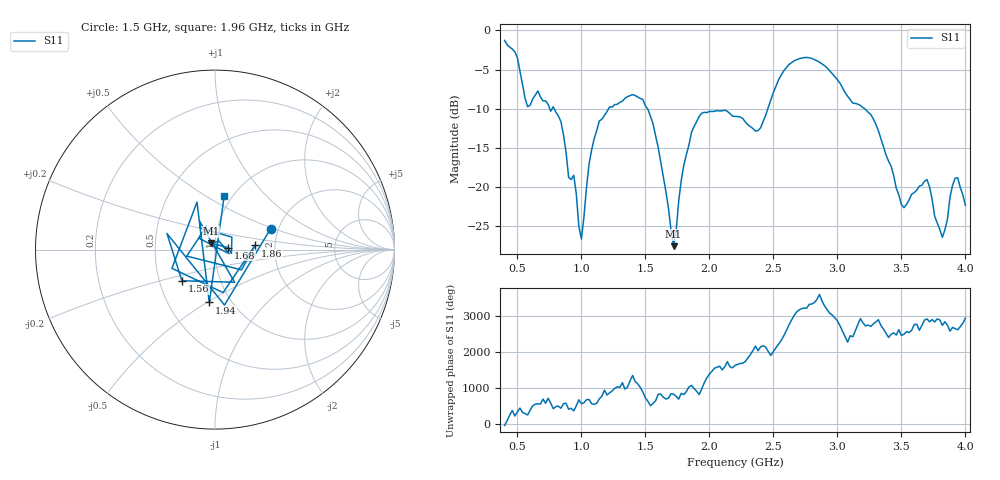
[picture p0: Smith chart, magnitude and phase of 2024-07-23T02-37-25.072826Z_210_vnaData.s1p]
!Created with skrf (http://scikit-rf.org).
# Hz S RI R 50.0
!freq ReS11 ImS11
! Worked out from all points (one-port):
!   181 points, 400 MHz to 4 GHz, reference 50 ohm
!   lowest |S11| = -27.5 dB at 1.72 GHz (marker M1), VSWR 1.09, Z = 47.7 + j3.41 ohm
!   |S11| at or under -10 dB: 787.8 MHz to 1.212 GHz (423.8 MHz wide, 42.4 % of centre); 1.517 GHz to 2.456 GHz (939.4 MHz wide, 47.3 % of centre); 3.214 GHz to end of sweep (the widest 3 of 4)
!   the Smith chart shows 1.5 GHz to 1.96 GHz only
!   S11 on the Smith chart (normalised r, x): 1.5 GHz: 1.82, +0.47; 1.56 GHz: 0.65, -0.24; 1.68 GHz: 1.16, +0.03; 1.86 GHz: 1.57, +0.08; 1.94 GHz: 0.79, -0.51; 1.96 GHz: 0.92, +0.60
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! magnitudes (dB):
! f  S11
! 400 MHz  -1.3
! 500 MHz  -3.5
! 580 MHz  -9.7
! 660 MHz  -7.7
! 860 MHz  -13.3
! 940 MHz  -18.5
! 1 GHz  -26.6
! 1.1 GHz  -13.8
! 1.3 GHz  -9.2
! 1.5 GHz  -9.6
! 1.56 GHz  -11.9
! 1.68 GHz  -22.6
! 1.72 GHz  -27.5
! 1.76 GHz  -21.8
! 1.86 GHz  -13.0
! 1.94 GHz  -10.6
! 1.96 GHz  -10.4
! 2.2 GHz  -11.0
! 2.38 GHz  -12.8
! 2.66 GHz  -3.9
! 3.1 GHz  -8.8
! 3.26 GHz  -10.7
! 3.5 GHz  -22.2
! 3.56 GHz  -21.6
! 3.7 GHz  -19.0
! 3.82 GHz  -26.4
! 3.92 GHz  -18.8
! 4 GHz  -22.3
